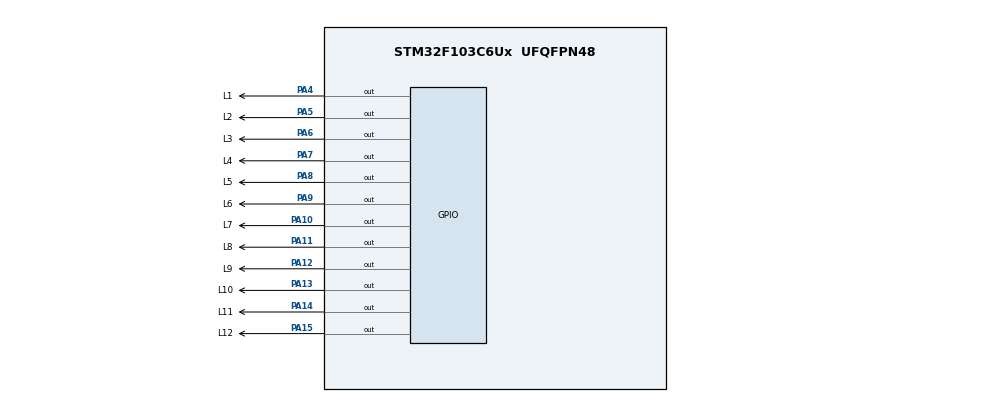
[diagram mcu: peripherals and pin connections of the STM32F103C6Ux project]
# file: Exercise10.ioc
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Mcu.Family=STM32F1
Mcu.Name=STM32F103C6Ux
Mcu.Package=UFQFPN48
NVIC.PriorityGroup=NVIC_PRIORITYGROUP_4
PA10.GPIO_Label=L7
PA10.Signal=GPIO_Output
PA11.GPIO_Label=L8
PA11.Signal=GPIO_Output
PA12.GPIO_Label=L9
PA12.Signal=GPIO_Output
PA13.GPIO_Label=L10
PA13.Signal=GPIO_Output
PA14.GPIO_Label=L11
PA14.Signal=GPIO_Output
PA15.GPIO_Label=L12
PA15.Signal=GPIO_Output
PA4.GPIO_Label=L1
PA4.Signal=GPIO_Output
PA5.GPIO_Label=L2
PA5.Signal=GPIO_Output
PA6.GPIO_Label=L3
PA6.Signal=GPIO_Output
PA7.GPIO_Label=L4
PA7.Signal=GPIO_Output
PA8.GPIO_Label=L5
PA8.Signal=GPIO_Output
PA9.GPIO_Label=L6
PA9.Signal=GPIO_Output
ProjectManager.HeapSize=0x200
ProjectManager.StackSize=0x400
ProjectManager.TargetToolchain=STM32CubeIDE
RCC.APB1Freq_Value=8000000
RCC.APB2Freq_Value=8000000
VP_SYS_VS_ND.Mode=No_Debug
board=custom

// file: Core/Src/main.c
/* USER CODE BEGIN Header */
/**
  ******************************************************************************
  * @file           : main.c
  * @brief          : Main program body
  ******************************************************************************
  * @attention
  *
  * <h2><center>&copy; Copyright (c) 2023 STMicroelectronics.
  * All rights reserved.</center></h2>
  *
  * This software component is licensed by ST under BSD 3-Clause license,
  * the "License"; You may not use this file except in compliance with the
  * License. You may obtain a copy of the License at:
  *                        opensource.org/licenses/BSD-3-Clause
  *
  ******************************************************************************
  */
/* USER CODE END Header */
#include "main.h"

void SystemClock_Config(void);
static void MX_GPIO_Init(void);

int main(void)
{

  /* MCU Configuration--------------------------------------------------------*/

  /* Reset of all peripherals, Initializes the Flash interface and the Systick. */
  HAL_Init();

  /* Configure the system clock */
  SystemClock_Config();

  /* Initialize all configured peripherals */
  MX_GPIO_Init();

  /* Infinite loop */
  uint16_t ledPin [12] = {GPIO_PIN_4, GPIO_PIN_5, GPIO_PIN_6, GPIO_PIN_7,
  		                  GPIO_PIN_8, GPIO_PIN_9, GPIO_PIN_10, GPIO_PIN_11,
  		                  GPIO_PIN_12, GPIO_PIN_13, GPIO_PIN_14, GPIO_PIN_15};

  void SetNumberOnClock (int num) {
	  HAL_GPIO_WritePin(GPIOA, ledPin[num], RESET);
  }
  void ClearAllClock () {
	  HAL_GPIO_WritePin(GPIOA, GPIO_PIN_4 | GPIO_PIN_5 | GPIO_PIN_6 | GPIO_PIN_7 |
	                	  	   GPIO_PIN_8 | GPIO_PIN_9 | GPIO_PIN_10 | GPIO_PIN_11 |
							   GPIO_PIN_12 | GPIO_PIN_13 | GPIO_PIN_14 | GPIO_PIN_15 ,SET);
  }
  int hour = 0, minute = 0, second = 0;
  /* USER CODE BEGIN WHILE */
  while (1)
  {
	  if (second == 60) {
		  second = 0;
		  minute++;
	  }
	  if (minute == 60) {
		  minute = 0;
		  second = 0;
		  hour++;
	  }
	  if (hour == 12) {
		  hour = 0;
	  }
	  ClearAllClock ();
	  SetNumberOnClock (hour);
	  SetNumberOnClock (minute/5);
	  SetNumberOnClock (second/5);
	  second++;
	  HAL_Delay(100);
    /* USER CODE END WHILE */

  }
}

void SystemClock_Config(void)
{
  RCC_OscInitTypeDef RCC_OscInitStruct = {0};
  RCC_ClkInitTypeDef RCC_ClkInitStruct = {0};

  /** Initializes the RCC Oscillators according to the specified parameters
  * in the RCC_OscInitTypeDef structure.
  */
  RCC_OscInitStruct.OscillatorType = RCC_OSCILLATORTYPE_HSI;
  RCC_OscInitStruct.HSIState = RCC_HSI_ON;
  RCC_OscInitStruct.HSICalibrationValue = RCC_HSICALIBRATION_DEFAULT;
  RCC_OscInitStruct.PLL.PLLState = RCC_PLL_NONE;
  if (HAL_RCC_OscConfig(&RCC_OscInitStruct) != HAL_OK)
  {
    Error_Handler();
  }
  /** Initializes the CPU, AHB and APB buses clocks
  */
  RCC_ClkInitStruct.ClockType = RCC_CLOCKTYPE_HCLK|RCC_CLOCKTYPE_SYSCLK
                              |RCC_CLOCKTYPE_PCLK1|RCC_CLOCKTYPE_PCLK2;
  RCC_ClkInitStruct.SYSCLKSource = RCC_SYSCLKSOURCE_HSI;
  RCC_ClkInitStruct.AHBCLKDivider = RCC_SYSCLK_DIV1;
  RCC_ClkInitStruct.APB1CLKDivider = RCC_HCLK_DIV1;
  RCC_ClkInitStruct.APB2CLKDivider = RCC_HCLK_DIV1;

  if (HAL_RCC_ClockConfig(&RCC_ClkInitStruct, FLASH_LATENCY_0) != HAL_OK)
  {
    Error_Handler();
  }
}

static void MX_GPIO_Init(void)
{
  GPIO_InitTypeDef GPIO_InitStruct = {0};

  /* GPIO Ports Clock Enable */
  __HAL_RCC_GPIOA_CLK_ENABLE();

  /*Configure GPIO pin Output Level */
  HAL_GPIO_WritePin(GPIOA, L1_Pin|L2_Pin|L3_Pin|L4_Pin
                          |L5_Pin|L6_Pin|L7_Pin|L8_Pin
                          |L9_Pin|L10_Pin|L11_Pin|L12_Pin, GPIO_PIN_RESET);

  /*Configure GPIO pins : L1_Pin L2_Pin L3_Pin L4_Pin
                           L5_Pin L6_Pin L7_Pin L8_Pin
                           L9_Pin L10_Pin L11_Pin L12_Pin */
  GPIO_InitStruct.Pin = L1_Pin|L2_Pin|L3_Pin|L4_Pin
                          |L5_Pin|L6_Pin|L7_Pin|L8_Pin
                          |L9_Pin|L10_Pin|L11_Pin|L12_Pin;
  GPIO_InitStruct.Mode = GPIO_MODE_OUTPUT_PP;
  GPIO_InitStruct.Pull = GPIO_NOPULL;
  GPIO_InitStruct.Speed = GPIO_SPEED_FREQ_LOW;
  HAL_GPIO_Init(GPIOA, &GPIO_InitStruct);

}

void Error_Handler(void)
{
  __disable_irq();
  while (1)
  {
  }
}

/************************ (C) COPYRIGHT STMicroelectronics *****END OF FILE****/
